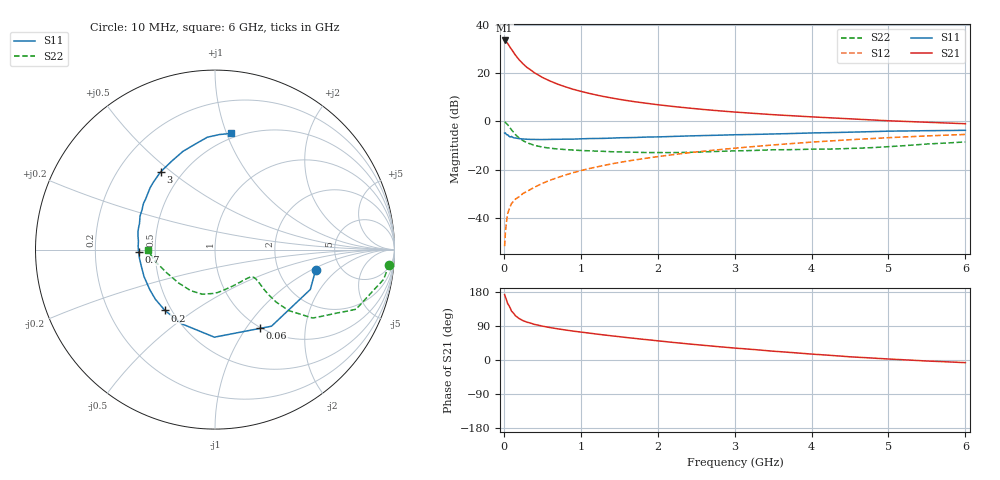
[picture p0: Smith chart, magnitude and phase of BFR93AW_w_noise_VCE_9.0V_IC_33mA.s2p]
! Infineon Technologies  Discrete & RF Semiconductors
! BFR93AW
! VCE =  9.0 V,  IC =  33 mA
! Common Emitter S-Parameters:  Jan 2017
# GHz  S  MA  R  50
!  f  S11  S21  S12  S22
! GHz  MAG  ANG  MAG  ANG  MAG  ANG  MAG  ANG
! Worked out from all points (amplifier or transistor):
!   77 points, 10 MHz to 6 GHz, reference 50 ohm
!   highest |S21| = 33.5 dB at 10 MHz (marker M1)
!   |S21| within 3 dB of that: start of sweep to 85.03 MHz
!   unconditionally stable (mu >= 1): 592.8 MHz to 2.058 GHz
!   at 130 MHz: K = 0.52, MSG = 30.7 dB, |S12| = -32.9 dB
!   at 2.2 GHz: K = 0.99, MSG = 10.0 dB, |S12| = -13.8 dB
!   at 6 GHz: K = 0.86, MSG = 2.2 dB, |S12| = -5.4 dB
!   lowest NFmin = 1.88 dB at 450 MHz
!   S11 on the Smith chart (normalised r, x): 10 MHz: 3.27, -1.10; 60 MHz: 0.99, -1.17; 200 MHz: 0.46, -0.39; 700 MHz: 0.40, -0.01; 3 GHz: 0.38, +0.46; 6 GHz: 0.46, +1.04
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0.01  0.5721 -11.4  47.49 172.6  0.0026 85.3  0.9748 -4.9
0.02  0.5757 -22.7  47.02 166.3  0.0048 80.5  0.9535 -10.1
0.05  0.5303 -53.6  41.23 148.8  0.0123 69.0  0.8536 -22.9
0.06  0.5058 -60.2  38.87 145.7  0.0138 66.9  0.8134 -24.9
0.1  0.4879 -90.4  31.02 128.9  0.0198 61.8  0.6649 -35.0
0.15  0.4532 -114.2  23.67 116.9  0.0245 59.5  0.5331 -39.6
0.2  0.439 -129.5  18.8 109.3  0.0276 59.7  0.4509 -40.6
0.25  0.4323 -140.2  15.53 103.8  0.0322 60.7  0.398 -40.2
0.3  0.4266 -148.2  13.14 99.9  0.0353 62.4  0.3611 -39.4
0.4  0.4231 -159.2  10.1 93.8  0.0433 65.4  0.3182 -37.5
0.5  0.4207 -167.1  8.156 89.4  0.0518 67.0  0.2938 -36.2
0.6  0.4235 -173.2  6.861 85.6  0.0605 68.4  0.2784 -35.7
0.7  0.4259 -178.0  5.911 82.3  0.0685 69.9  0.2683 -35.5
0.9  0.4293 173.6  4.631 76.3  0.0867 70.1  0.255 -36.8
1.1  0.4404 167.0  3.834 71.2  0.1045 70.4  0.2461 -39.2
1.5  0.4572 156.1  2.865 61.6  0.1405 68.7  0.2327 -47.0
2.1  0.4822 142.2  2.125 48.6  0.1953 64.9  0.2255 -64.4
3  0.5286 124.9  1.562 31.5  0.2781 57.5  0.2448 -92.5
3.1  0.5316 123.1  1.523 30.0  0.2873 56.5  0.2464 -95.3
4.1  0.5796 106.5  1.218 14.3  0.3804 46.6  0.2658 -124.2
5.1  0.6299 92.6  1.015 1.6  0.4672 35.8  0.3062 -158.0
6  0.6535 82.0  0.894 -7.0  0.5366 25.7  0.3754 -179.9
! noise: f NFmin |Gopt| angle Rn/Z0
0.45  1.88  0.2  177  0.16
0.9  2.14  0.27  -173  0.16
1.9  3.19  0.51  -134  0.3
2.4  3.85  0.56  -124  0.58
